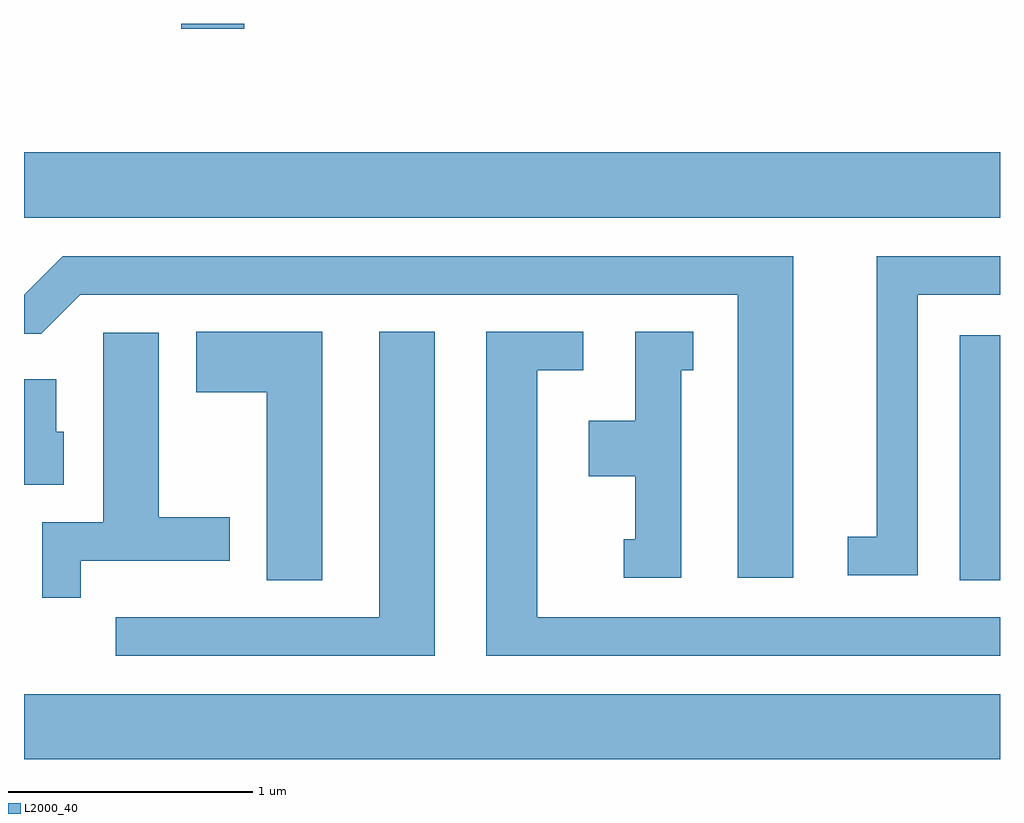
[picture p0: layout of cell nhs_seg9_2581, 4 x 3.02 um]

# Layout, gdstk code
import gdstk
lib = gdstk.Library(unit=1e-6, precision=1e-09)
def R(c, l, rs):  # rectangles x0, y0, x1, y1
    for r in rs: c.add(gdstk.rectangle(r[:2], r[2:], *l))
def P(c, l, *ps):  # polygons
    for p in ps: c.add(gdstk.Polygon(p, *l))
L2000_40 = (2000, 40)

nhs_seg9_2581 = lib.new_cell('nhs_seg9_2581')
R(nhs_seg9_2581, L2000_40, [(261.611,1947.416,265.611,1947.684), (265.446,1948.151,265.611,1949.154), (261.611,1949.636,265.611,1949.904)])
P(nhs_seg9_2581, L2000_40, [(262.514,1950.432),(261.611,1950.432),(261.611,1950.431),(262.256,1950.431),(262.256,1950.411),(262.514,1950.411)],
  [(265.274,1949.321),(265.611,1949.321),(265.611,1949.479),(265.106,1949.479),(265.106,1948.329),(264.988,1948.329),(264.988,1948.171),(265.274,1948.171)],
  [(264.764,1949.479),(261.769,1949.479),(261.611,1949.321),(261.611,1949.161),(261.682,1949.161),(261.842,1949.321),(264.536,1949.321),(264.536,1948.161),(264.764,1948.161)],
  [(265.611,1947.999),(263.714,1947.999),(263.714,1949.011),(263.903,1949.011),(263.903,1949.169),(263.506,1949.169),(263.506,1947.841),(265.611,1947.841)],
  [(263.294,1949.169),(263.066,1949.169),(263.066,1947.999),(261.988,1947.999),(261.988,1947.841),(263.294,1947.841)],
  [(262.834,1949.169),(262.316,1949.169),(262.316,1948.921),(262.606,1948.921),(262.606,1948.151),(262.834,1948.151)],
  [(264.304,1949.011),(264.353,1949.011),(264.353,1949.169),(264.116,1949.169),(264.116,1948.804),(263.926,1948.804),(263.926,1948.576),(264.116,1948.576),(264.116,1948.319),(264.068,1948.319),(264.068,1948.161),(264.304,1948.161)],
  [(261.844,1948.231),(262.454,1948.231),(262.454,1948.409),(262.164,1948.409),(262.164,1949.164),(261.936,1949.164),(261.936,1948.389),(261.686,1948.389),(261.686,1948.078),(261.844,1948.078)],
  [(261.774,1948.759),(261.744,1948.759),(261.744,1948.974),(261.611,1948.974),(261.611,1948.541),(261.774,1948.541)])

lib.write_gds('nhs_seg9_2581.gds')
